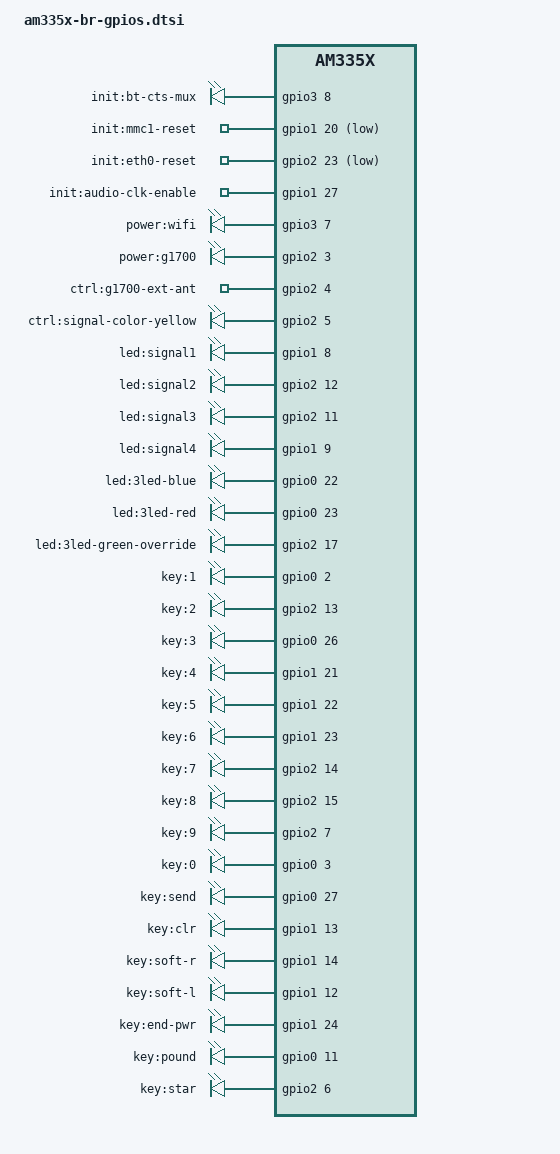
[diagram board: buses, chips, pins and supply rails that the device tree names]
/*
 * Copyright (C) 2012 Texas Instruments Incorporated - http://www.ti.com/
 *
 * This program is free software; you can redistribute it and/or modify
 * it under the terms of the GNU General Public License version 2 as
 * published by the Free Software Foundation.
 */

#include "am335x-br-pinmux.dtsi"

/ {
	/* "gpio-leds" class seems to have to be used for _all_ DT OUTPUT gpios, led or not:
	 *   https://e2e.ti.com/support/embedded/linux/f/354/t/394107
	 */
	leds {
		pinctrl-names = "default";
		pinctrl-0 = <&gpio_output_pins_default>;

		compatible = "gpio-leds";

		/* --- INIT STUFF --- */
		/* 0x1e8 ( PIN_OUTPUT_PULLUP | MUX_MODE7 ) -- (B14) EMU1.gpio3[8] ~ BT_CTS_MUX */
		bt-cts-mux {
			label = "init:bt-cts-mux";
			gpios = <&gpio3 8 GPIO_ACTIVE_HIGH>;
			default-state = "on";
		};

		/* 0x50 ( PIN_OUTPUT_PULLDOWN | MUX_MODE7 ) -- (R14) gpmc_a4.gpio1[20] ~ MMC1_RESET# */
		reset-mmc1 {
			label = "init:mmc1-reset";
			gpios = <&gpio1 20 GPIO_ACTIVE_LOW>;
			default-state = "off";
		};

		/* 0xe4 ( PIN_OUTPUT_PULLDOWN | MUX_MODE7 ) -- (R5) lcd_hsync.gpio2[23] ~ ETH0_RESET# */
		reset-eth0 {
			label = "init:eth0-reset";
			gpios = <&gpio2 23 GPIO_ACTIVE_LOW>;
			default-state = "off";
		};

		/* 0x6c ( PIN_OUTPUT_PULLDOWN | MUX_MODE7 ) -- (V17) gpmc_a11.gpio1[27] ~ AUD_MCLK_EN */
		audio-clk-enable {
			label = "init:audio-clk-enable";
			gpios = <&gpio1 27 GPIO_ACTIVE_HIGH>;
			default-state = "on";
		};


		/* --- POWER --- */
		/* 0x1e4 ( PIN_OUTPUT_PULLDOWN | MUX_MODE7 ) -- (C14) EMU0.gpio3[7] ~ WIFI_PWR_ENABLE */
		power-wifi {
			label = "power:wifi";
			gpios = <&gpio3 7 GPIO_ACTIVE_HIGH>;
			default-state = "on";
		};

		/* 0x94 ( PIN_OUTPUT_PULLDOWN | MUX_MODE7 ) -- (T7) gpmc_oen_ren.gpio2[3] ~ G1700_PWR_ENABLE */
		power-g1700 {
			label = "power:g1700";
			gpios = <&gpio2 3 GPIO_ACTIVE_HIGH>;
			default-state = "on";
		};


		/* --- CONTROLS --- */
		/* 0x98 ( PIN_OUTPUT_PULLDOWN | MUX_MODE7 ) -- (U6) gpmc_wen.gpio2[4] ~ G1700_EXT_ANT_EN */
		control-g1700-ext-ant {
			label = "ctrl:g1700-ext-ant";
			gpios = <&gpio2 4 GPIO_ACTIVE_HIGH>;
			default-state = "off";
		};


		/* 0x9c ( PIN_OUTPUT_PULLDOWN | MUX_MODE7 ) -- (T6) gpmc_be0n_cle.gpio2[5] ~ LED_COLOUR_SELECT */
		control-signal-color-yellow {
			label = "ctrl:signal-color-yellow";
			gpios = <&gpio2 5 GPIO_ACTIVE_HIGH>;
			default-state = "off";
		};


		/* --- LEDS --- */
		/* 0x168 ( PIN_OUTPUT_PULLDOWN | MUX_MODE7 ) -- (E18) uart0_ctsn.gpio1[8] ~ SIGNAL_LED_B1 */
		led-signal1 {
			label = "led:signal1";
			gpios = <&gpio1 8 GPIO_ACTIVE_HIGH>;
			default-state = "off";
		};

		/* 0xb8 ( PIN_OUTPUT_PULLDOWN | MUX_MODE7 ) -- (T3) lcd_data6.gpio2[12] ~ SIGNAL_LED_B2 */
		led-signal2 {
			label = "led:signal2";
			gpios = <&gpio2 12 GPIO_ACTIVE_HIGH>;
			default-state = "off";
		};

		/* 0xb4 ( PIN_OUTPUT_PULLDOWN | MUX_MODE7 ) -- (T2) lcd_data5.gpio2[11] ~ SIGNAL_LED_B3 */
		led-signal3 {
			label = "led:signal3";
			gpios = <&gpio2 11 GPIO_ACTIVE_HIGH>;
			default-state = "off";
		};

		/* 0x16c ( PIN_OUTPUT_PULLDOWN | MUX_MODE7 ) -- (E17) uart0_rtsn.gpio1[9] ~ SIGNAL_LED_B4 */
		led-signal4 {
			label = "led:signal4";
			gpios = <&gpio1 9 GPIO_ACTIVE_HIGH>;
			default-state = "off";
		};

		/* 0x20 ( PIN_OUTPUT_PULLDOWN | MUX_MODE7 ) -- (U10) gpmc_ad8.gpio0[22] ~ STATUS_3LED_B */
		led-3led-b {
			label = "led:3led-blue";
			gpios = <&gpio0 22 GPIO_ACTIVE_HIGH>;
			default-state = "off";
		};

		/* 0x24 ( PIN_OUTPUT_PULLDOWN | MUX_MODE7 ) -- (T10) gpmc_ad9.gpio0[23] ~ STATUS_3LED_R */
		led-3led-r {
			label = "led:3led-red";
			gpios = <&gpio0 23 GPIO_ACTIVE_HIGH>;
			default-state = "off";
		};

		/* 0xcc ( PIN_OUTPUT_PULLDOWN | MUX_MODE7 ) -- (U4) lcd_data11.gpio2[17] ~ STATUS_3LED_G_OVERRIDE */
		led-3led-g-override {
			label = "led:3led-green-override";
			gpios = <&gpio2 17 GPIO_ACTIVE_HIGH>;
			/* setup to blink for wifi activity */
			/*linux,default-trigger = "mmc2"; */
		};



		/* --- G1700 KEYS/BUTTONS --- */
		/* 0x150 ( PIN_OUTPUT_PULLDOWN | MUX_MODE7 ) -- (A17) spi0_sclk.gpio0[2] ~ KEY_1 */
		key-1 {
			label = "key:1";
			gpios = <&gpio0 2 GPIO_ACTIVE_HIGH>;
			default-state = "off";
		};

		/* 0xbc ( PIN_OUTPUT_PULLDOWN | MUX_MODE7 ) -- (T4) lcd_data7.gpio2[13] ~ KEY_2 */
		key-2 {
			label = "key:2";
			gpios = <&gpio2 13 GPIO_ACTIVE_HIGH>;
			default-state = "off";
		};

		/* 0x28 ( PIN_OUTPUT_PULLDOWN | MUX_MODE7 ) -- (T11) gpmc_ad10.gpio0[26] ~ KEY_3 */
		key-3 {
			label = "key:3";
			gpios = <&gpio0 26 GPIO_ACTIVE_HIGH>;
			default-state = "off";
		};

		/* 0x54 ( PIN_OUTPUT_PULLDOWN | MUX_MODE7 ) /* (V15) gpmc_a5.gpio1[21] ~ KEY_4 */
		key-4 {
			label = "key:4";
			gpios = <&gpio1 21 GPIO_ACTIVE_HIGH>;
			default-state = "off";
		};

		/* 0x58 ( PIN_OUTPUT_PULLDOWN | MUX_MODE7 ) -- (U15) gpmc_a6.gpio1[22] ~ KEY_5 */
		key-5 {
			label = "key:5";
			gpios = <&gpio1 22 GPIO_ACTIVE_HIGH>;
			default-state = "off";
		};

		/* 0x5c ( PIN_OUTPUT_PULLDOWN | MUX_MODE7 ) -- (T15) gpmc_a7.gpio1[23] ~ KEY_6 */
		key-6 {
			label = "key:6";
			gpios = <&gpio1 23 GPIO_ACTIVE_HIGH>;
			default-state = "off";
		};

		/* 0xc0 ( PIN_OUTPUT_PULLDOWN | MUX_MODE7 ) -- (U1) lcd_data8.gpio2[14] ~ KEY_7 */
		key-7 {
			label = "key:7";
			gpios = <&gpio2 14 GPIO_ACTIVE_HIGH>;
			default-state = "off";
		};

		/* 0xc4 ( PIN_OUTPUT_PULLDOWN | MUX_MODE7 ) -- (U2) lcd_data9.gpio2[15] ~ KEY_8 */
		key-8 {
			label = "key:8";
			gpios = <&gpio2 15 GPIO_ACTIVE_HIGH>;
			default-state = "off";
		};

		/* 0xa4 ( PIN_OUTPUT_PULLDOWN | MUX_MODE7 ) -- (R2) lcd_data1.gpio2[7] ~ KEY_9 */
		key-9 {
			label = "key:9";
			gpios = <&gpio2 7 GPIO_ACTIVE_HIGH>;
			default-state = "off";
		};

		/* 0x154 ( PIN_OUTPUT_PULLDOWN | MUX_MODE7 ) -- (B17) spi0_d0.gpio0[3] ~ KEY_0 */
		key-0 {
			label = "key:0";
			gpios = <&gpio0 3 GPIO_ACTIVE_HIGH>;
			default-state = "off";
		};

		/* 0x2c ( PIN_OUTPUT_PULLDOWN | MUX_MODE7 ) -- (U12) gpmc_ad11.gpio0[27] ~ KEY_SEND */
		key-send {
			label = "key:send";
			gpios = <&gpio0 27 GPIO_ACTIVE_HIGH>;
			default-state = "off";
		};


		/* 0x34 ( PIN_OUTPUT_PULLDOWN | MUX_MODE7 ) -- (R12) gpmc_ad13.gpio1[13] ~ KEY_CLR */
		key-clr {
			label = "key:clr";
			gpios = <&gpio1 13 GPIO_ACTIVE_HIGH>;
			default-state = "off";
		};

		/* 0x38 ( PIN_OUTPUT_PULLDOWN | MUX_MODE7 ) -- (V13) gpmc_ad14.gpio1[14] ~ KEY_SOFT_R */
		key-soft-r {
			label = "key:soft-r";
			gpios = <&gpio1 14 GPIO_ACTIVE_HIGH>;
			default-state = "off";
		};

		/* 0x30 ( PIN_OUTPUT_PULLDOWN | MUX_MODE7 ) -- (T12) gpmc_ad12.gpio1[12] ~ KEY_SOFT_L */
		key-soft-l {
			label = "key:soft-l";
			gpios = <&gpio1 12 GPIO_ACTIVE_HIGH>;
			default-state = "off";
		};

		/* 0x60 ( PIN_OUTPUT_PULLDOWN | MUX_MODE7 ) -- (V16) gpmc_a8.gpio1[24] ~ KEY_END_PWR */
		key-end-pwr {
			label = "key:end-pwr";
			gpios = <&gpio1 24 GPIO_ACTIVE_HIGH>;
			default-state = "off";
		};

		/* 0xdc ( PIN_OUTPUT_PULLDOWN | MUX_MODE7 ) -- (T5) lcd_data15.gpio0[11] ~ KEY_POUND */
		key-pound {
			label = "key:pound";
			gpios = <&gpio0 11 GPIO_ACTIVE_HIGH>;
			default-state = "off";
		};

		/* 0xa0 ( PIN_OUTPUT_PULLDOWN | MUX_MODE7 ) -- (R1) lcd_data0.gpio2[6] ~ KEY_STAR */
		key-star {
			label = "key:star";
			gpios = <&gpio2 6 GPIO_ACTIVE_HIGH>;
			default-state = "off";
		};
	};


	/* Based on gpio-of-helper defined here: https://www.mail-archive.com/linux-gpio@vger.kernel.org/msg04361.html
	 * NOTE:  This 'gpio-of-helper' driver looks about half-baked!  It does NOT set active low/high, nor create
     *   string-based names.  USE WITH CAUTION!!!
     */
	gpio_inputs {
		compatible = "gpio-of-helper";
		pinctrl-names = "default";
		pinctrl-0 = <&gpio_input_pins_default>;
		status = "okay";

		/* 0x7c ( PIN_INPUT_PULLUP | MUX_MODE7 ) -- (V6) gpmc_csn0.gpio1[29] ~ POWER_CONNECTED# */
		power_connected {
			gpio-name = "power:ac_connected";
			gpio = <&gpio1 29 GPIO_ACTIVE_LOW>;
			input;
		};
	};

};
